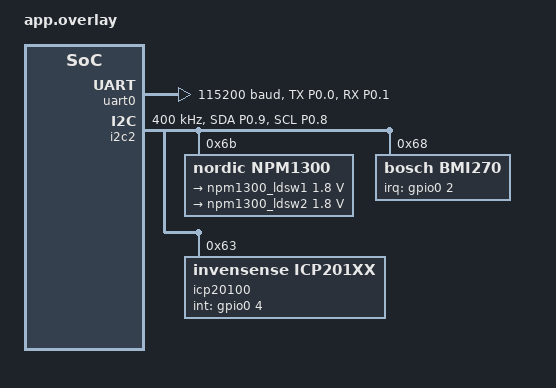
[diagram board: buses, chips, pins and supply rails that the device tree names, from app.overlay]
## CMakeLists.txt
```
cmake_minimum_required(VERSION 3.20.0)

find_package(Zephyr REQUIRED HINTS $ENV{ZEPHYR_BASE})
project(fall_detection_logger)

target_sources(app PRIVATE src/main.c)
```

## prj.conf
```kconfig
# ==========================================================
# CONSOLE & LOGGING
# ==========================================================
CONFIG_SERIAL=y
CONFIG_CONSOLE=y
CONFIG_STDOUT_CONSOLE=y
CONFIG_LOG=y
CONFIG_PRINTK=y

# Float formatting for printf and JSON payloads
CONFIG_CBPRINTF_FP_SUPPORT=y
CONFIG_PICOLIBC_IO_FLOAT=y

# ==========================================================
# HARDWARE & PMIC 
# ==========================================================
CONFIG_I2C=y
CONFIG_REGULATOR=y
CONFIG_MFD_NPM13XX=y
CONFIG_REGULATOR_NPM13XX=y
CONFIG_NPM13XX_CHARGER=y

# ==========================================================
# SENSORS
# ==========================================================
CONFIG_SENSOR=y
CONFIG_BMI270=y
CONFIG_ICP201XX=y
CONFIG_SENSOR_ASYNC_API=y

# ==========================================================
# MODEM & LTE
# ==========================================================
CONFIG_NRF_MODEM_LIB=y
CONFIG_LTE_LINK_CONTROL=y
CONFIG_LTE_NETWORK_MODE_LTE_M=y

# Custom clock settings (No crystal, use RC)
CONFIG_CLOCK_CONTROL_NRF_K32SRC_XTAL=n
CONFIG_CLOCK_CONTROL_NRF_K32SRC_RC=y
CONFIG_CLOCK_CONTROL_NRF_K32SRC_500PPM=y

# ==========================================================
# NETWORKING & MQTT
# ==========================================================
CONFIG_NETWORKING=y
CONFIG_NET_NATIVE=n
CONFIG_NET_SOCKETS=y
CONFIG_MQTT_HELPER=y

# ==========================================================
# MEMORY (16KB needed for formatting 50-item JSON arrays)
# ==========================================================
CONFIG_MAIN_STACK_SIZE=16384
CONFIG_HEAP_MEM_POOL_SIZE=16384

# ==========================================================
# SOCKET OFFLOAD (Route MQTT through the LTE Modem)
# ==========================================================
CONFIG_NET_SOCKETS_OFFLOAD=y
CONFIG_POSIX_API=y

# ==========================================================
# MQTT STABILITY
# ==========================================================
CONFIG_MQTT_CLEAN_SESSION=y
CONFIG_MQTT_KEEPALIVE=1200
```

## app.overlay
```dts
#include <zephyr/dt-bindings/regulator/npm13xx.h>
#include <zephyr/dt-bindings/i2c/i2c.h>

&pinctrl {
    /* --- UART0 --- */
    uart0_default: uart0_default {
        group1 {
            psels = <NRF_PSEL(UART_TX, 0, 0)>,
                    <NRF_PSEL(UART_RX, 0, 1)>;
        };
    };
    uart0_sleep: uart0_sleep {
        group1 {
            psels = <NRF_PSEL(UART_TX, 0, 0)>,
                    <NRF_PSEL(UART_RX, 0, 1)>;
            low-power-enable;
        };
    };

    /* --- I2C2 --- */
    i2c2_default: i2c2_default {
        group1 {
            psels = <NRF_PSEL(TWIM_SDA, 0, 9)>,
                    <NRF_PSEL(TWIM_SCL, 0, 8)>;
        };
    };
    i2c2_sleep: i2c2_sleep {
        group1 {
            psels = <NRF_PSEL(TWIM_SDA, 0, 9)>,
                    <NRF_PSEL(TWIM_SCL, 0, 8)>;
            low-power-enable;
        };
    };
};


&uart0 {
    status = "okay";
    current-speed = <115200>;
    pinctrl-0 = <&uart0_default>;
    pinctrl-1 = <&uart0_sleep>;
    pinctrl-names = "default", "sleep";
};

&i2c2 {
    status = "okay";
    pinctrl-0 = <&i2c2_default>;
    pinctrl-1 = <&i2c2_sleep>;
    pinctrl-names = "default", "sleep";
    clock-frequency = <I2C_BITRATE_FAST>;
    zephyr,concat-buf-size = <2048>;
    zephyr,flash-buf-max-size = <2048>;

    npm1300: pmic@6b {
        compatible = "nordic,npm1300";
        reg = <0x6b>;
        status = "okay";

        npm1300_regulators: regulators {
            compatible = "nordic,npm1300-regulator";
            status = "okay";
        };

        npm1300_charger: charger {
            compatible = "nordic,npm1300-charger";
            status = "okay";
            vbus-limit-microamp = <500000>;
            term-microvolt = <4200000>;
            current-microamp = <400000>;
            dischg-limit-microamp = <1000000>;
            thermistor-ohms = <10000>;
            thermistor-beta = <3380>;
        };
    };


    /* Bosch BMI270 IMU */
    bmi270: bmi270@68 {
        compatible = "bosch,bmi270";
        reg = <0x68>;
        irq-gpios = <&gpio0 2 GPIO_ACTIVE_HIGH>;
    };

    /* TDK Barometer */
    icp20100: icp20100@63 {
        compatible = "invensense,icp201xx";
        reg = <0x63>;
        int-gpios = <&gpio0 4 GPIO_ACTIVE_HIGH>;
    };

};


&npm1300_regulators {
    npm1300_ldsw1: LDO1 {
        status = "okay";
        /* Fixed: Lowered to 1.8V to match nRF9151 GPIO logic levels */
        regulator-min-microvolt = <1800000>;
        regulator-max-microvolt = <1800000>;
        regulator-initial-mode = <NPM13XX_LDSW_MODE_LDSW>;
        active-discharge;
        regulator-boot-on;
        regulator-always-on;
    };

    npm1300_ldsw2: LDO2 {
        status = "okay";
        /* Fixed: Lowered to 1.8V to match nRF9151 GPIO logic levels */
        regulator-min-microvolt = <1800000>;
        regulator-max-microvolt = <1800000>;
        regulator-initial-mode = <NPM13XX_LDSW_MODE_LDSW>;
        active-discharge;
        regulator-boot-on;
        regulator-always-on;
    };
};
```

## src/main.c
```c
#include <zephyr/kernel.h>
#include <zephyr/device.h>
#include <zephyr/logging/log.h>
#include <zephyr/drivers/sensor.h>
#include <zephyr/drivers/regulator.h>
#include <stdio.h>
#include <string.h>
#include <math.h>
#include <modem/nrf_modem_lib.h>
#include <modem/lte_lc.h>
#include <net/mqtt_helper.h>


LOG_MODULE_REGISTER(main_app, LOG_LEVEL_INF);

/* --- Hardware Definitions --- */
#define BMI270_NODE DT_NODELABEL(bmi270)
#define ICP20100_NODE DT_NODELABEL(icp20100)
#define LDO2_NODE DT_NODELABEL(npm1300_ldsw2)

/* --- Dedicated Training Topic --- */
#define MQTT_PUB_TOPIC "bracelet/prototype_pcb/data/training"
#define CLIENT_ID "prototype_pcb"
#define MQTT_BROKER_HOSTNAME "20.251.201.46"

static K_SEM_DEFINE(lte_connected, 0, 1);
static K_SEM_DEFINE(mqtt_connected_sem, 0, 1);
static bool mqtt_is_connected = false;

/* --- Buffer Configuration --- */
#define MAX_SAMPLES 50 /* 1 second of data at 50Hz */

/* Bootstrap security code — set this in prj.conf as CONFIG_MQTT_BOOTSTRAP_SECURITY_CODE */
#ifndef CONFIG_MQTT_BOOTSTRAP_SECURITY_CODE
#define CONFIG_MQTT_BOOTSTRAP_SECURITY_CODE "987654"
#endif

struct sensor_record {
    int64_t timestamp;
    double x, y, z;
    double p_hpa;
    bool acc_valid;
    bool press_valid;
};

static struct sensor_record sample_buffer[MAX_SAMPLES];

/* =====================================================================
 * PRE-MAIN BOOT SEQUENCE (Power up sensors)
 * ===================================================================== */
static int power_up_imu_during_boot(void)
{
    const struct device *const ldo2_dev = DEVICE_DT_GET(LDO2_NODE);
    if (device_is_ready(ldo2_dev)) {
        regulator_enable(ldo2_dev);
    }
    k_sleep(K_MSEC(100));
    return 0;
}
SYS_INIT(power_up_imu_during_boot, POST_KERNEL, 85);

/* =====================================================================
 * CALLBACKS
 * ===================================================================== */
static void lte_handler(const struct lte_lc_evt *const evt)
{
    if (evt->type == LTE_LC_EVT_NW_REG_STATUS) {
        if ((evt->nw_reg_status == LTE_LC_NW_REG_REGISTERED_HOME) ||
            (evt->nw_reg_status == LTE_LC_NW_REG_REGISTERED_ROAMING)) {
            LOG_INF("Connected to LTE network!");
            k_sem_give(&lte_connected);
        } else if (evt->nw_reg_status == LTE_LC_NW_REG_REGISTRATION_DENIED) {
            LOG_ERR("Network rejected us!");
        }
    }
}

static void on_mqtt_connack(enum mqtt_conn_return_code return_code, bool session_present)
{
    if (return_code == MQTT_CONNECTION_ACCEPTED) {
        LOG_INF("Connected to MQTT broker!");
        mqtt_is_connected = true;
        k_sem_give(&mqtt_connected_sem);
    } else {
        LOG_WRN("MQTT connection failed, code: %d", return_code);
    }
}

static void on_mqtt_disconnect(int result)
{
    LOG_INF("MQTT client disconnected: %d", result);
    mqtt_is_connected = false;
}

/* =====================================================================
 * HELPER: PUBLISH BUFFERED JSON
 * ===================================================================== */
static int publish_training_chunk(int64_t session_id, int chunk_index, int sample_count)
{
    if (!mqtt_is_connected) {
        LOG_WRN("MQTT not connected, dropping chunk %d.", chunk_index);
        return -ENOTCONN;
    }

    char payload[4096];
    int offset = snprintf(payload, sizeof(payload),
                          "{\"session_id\":%lld,\"chunk\":%d,\"data\":[",
                          session_id, chunk_index);

    for (int i = 0; i < sample_count; i++) {
        const char *comma = (i == sample_count - 1) ? "" : ",";
        struct sensor_record *r = &sample_buffer[i];

        char x_buf[16], y_buf[16], z_buf[16], p_buf[16];

        if (r->acc_valid) {
            snprintf(x_buf, sizeof(x_buf), "%.2f", r->x);
            snprintf(y_buf, sizeof(y_buf), "%.2f", r->y);
            snprintf(z_buf, sizeof(z_buf), "%.2f", r->z);
        } else {
            strcpy(x_buf, "null");
            strcpy(y_buf, "null");
            strcpy(z_buf, "null");
        }

        if (r->press_valid) {
            snprintf(p_buf, sizeof(p_buf), "%.2f", r->p_hpa);
        } else {
            strcpy(p_buf, "null");
        }

        offset += snprintf(payload + offset, sizeof(payload) - offset,
                           "{\"t\":%lld,\"x\":%s,\"y\":%s,\"z\":%s,\"p\":%s}%s",
                           r->timestamp, x_buf, y_buf, z_buf, p_buf, comma);

        if (offset >= sizeof(payload) - 5) {
            LOG_WRN("Payload buffer nearly full, truncating chunk %d at sample %d.",
                    chunk_index, i);
            break;
        }
    }

    snprintf(payload + offset, sizeof(payload) - offset, "]}");

    struct mqtt_publish_param param = { 0 };
    static uint16_t next_msg_id = 1;

    param.message_id = next_msg_id++;
    if (next_msg_id == 0) {
        next_msg_id = 1;
    }
    param.message.payload.data = (uint8_t *)payload;
    param.message.payload.len = strlen(payload);
    param.message.topic.qos = MQTT_QOS_1_AT_LEAST_ONCE;
    param.message.topic.topic.utf8 = (uint8_t *)MQTT_PUB_TOPIC;
    param.message.topic.topic.size = strlen(MQTT_PUB_TOPIC);

    LOG_INF("Publishing Chunk %d/10 (%d bytes)...", chunk_index, param.message.payload.len);
    return mqtt_helper_publish(&param);
}

/* =====================================================================
 * MAIN APPLICATION
 * ===================================================================== */
int main(void)
{
    int err;
    LOG_INF("=== ML Data Collection Pipeline Booting ===");

    /* --- 1. Init Sensors --- */
    const struct device *const bmi_dev = DEVICE_DT_GET(BMI270_NODE);
    const struct device *const icp_dev = DEVICE_DT_GET(ICP20100_NODE);

    if (!device_is_ready(bmi_dev) || !device_is_ready(icp_dev)) {
        LOG_ERR("Sensors failed to initialize. Check hardware.");
        return -1;
    }

    struct sensor_value full_scale = { .val1 = 2, .val2 = 0 };
    sensor_attr_set(bmi_dev, SENSOR_CHAN_ACCEL_XYZ, SENSOR_ATTR_FULL_SCALE, &full_scale);
    LOG_INF("Sensors ready.");

    /* --- 2. Init Modem & Connect LTE --- */
    LOG_INF("Initializing modem library...");
    err = nrf_modem_lib_init();
    if (err) return -1;


    LOG_INF("Connecting to LTE network...");
    lte_lc_connect_async(lte_handler);
    k_sem_take(&lte_connected, K_FOREVER);

    /* --- 3. Init & Connect MQTT --- */
    struct mqtt_helper_cfg config = {
        .cb = {
            .on_connack = on_mqtt_connack,
            .on_disconnect = on_mqtt_disconnect,
        },
    };
    mqtt_helper_init(&config);

    struct mqtt_helper_conn_params conn_params = {
        .hostname.ptr = MQTT_BROKER_HOSTNAME,
        .hostname.size = strlen(MQTT_BROKER_HOSTNAME),
        .device_id.ptr = CLIENT_ID,
        .device_id.size = strlen(CLIENT_ID),
    };
    
    LOG_INF("Connecting to MQTT Broker at %s...", MQTT_BROKER_HOSTNAME);
    mqtt_helper_connect(&conn_params);
    k_sem_take(&mqtt_connected_sem, K_FOREVER);

    /* --- 4. The 10-Second Wait --- */
    LOG_INF("==================================================");
    LOG_INF("DATA COLLECTION STARTING IN 10 SECONDS...");
    LOG_INF("Get into position!");
    LOG_INF("==================================================");
    k_sleep(K_SECONDS(5));

    /* --- 5. The 10-Second Data Collection Sequence --- */
    struct sensor_value acc[3];
    struct sensor_value pressure;
    struct sensor_value sampling_freq = { .val1 = 100, .val2 = 0 };
    struct sensor_value oversampling = { .val1 = 1, .val2 = 0 };
    sensor_attr_set(bmi_dev, SENSOR_CHAN_ACCEL_XYZ, SENSOR_ATTR_OVERSAMPLING, &oversampling);
    sensor_attr_set(bmi_dev, SENSOR_CHAN_ACCEL_XYZ, SENSOR_ATTR_SAMPLING_FREQUENCY, &sampling_freq);
    
    /* Create a unique session ID based on system uptime */
    int64_t session_id = k_uptime_get(); 
    
    LOG_INF(">>> STARTING 10-SECOND RECORDING (Session: %lld) <<<", session_id);

    for (int chunk = 1; chunk <= 10; chunk++) {

        for (int sample = 0; sample < MAX_SAMPLES; sample++) {

            int64_t now = k_uptime_get() - session_id;
            struct sensor_record *r = &sample_buffer[sample];
            r->timestamp = now;

            int acc_err = sensor_sample_fetch(bmi_dev);
            if (acc_err == 0) {
                sensor_channel_get(bmi_dev, SENSOR_CHAN_ACCEL_XYZ, acc);
                r->x = sensor_value_to_double(&acc[0]);
                r->y = sensor_value_to_double(&acc[1]);
                r->z = sensor_value_to_double(&acc[2]);
                r->acc_valid = true;
            } else {
                LOG_WRN("BMI270 fetch failed at t=%lld, err=%d", now, acc_err);
                r->acc_valid = false;
            }

            k_usleep(500);

            static double last_valid_pressure = 0.0;
            static bool have_valid_pressure = false;

            if (sample % 2 == 0) {
                int press_err = sensor_sample_fetch(icp_dev);
                if (press_err == 0) {
                    sensor_channel_get(icp_dev, SENSOR_CHAN_PRESS, &pressure);
                    r->p_hpa = sensor_value_to_double(&pressure) * 10.0;
                    r->press_valid = true;
                    last_valid_pressure = r->p_hpa;
                    have_valid_pressure = true;
                } else {
                    LOG_WRN("ICP20100 fetch failed at t=%lld, err=%d", now, press_err);
                    r->press_valid = false;
                }
            } else {
                /* Carry forward the last known pressure instead of leaving it null */
                r->p_hpa = last_valid_pressure;
                r->press_valid = have_valid_pressure;
            }
            k_sleep(K_MSEC(20));
        }

        /* 1 second has passed, publish the chunk */
        publish_training_chunk(session_id, chunk, MAX_SAMPLES);
    }

    /* --- 6. Shutdown --- */
    LOG_INF("==================================================");
    LOG_INF("DATA COLLECTION COMPLETE.");
    LOG_INF("==================================================");
    
    LOG_INF("Disconnecting safely to preserve network status...");
    mqtt_helper_disconnect();
    k_sleep(K_MSEC(200)); /* let the socket close gracefully */
    lte_lc_power_off();
    
    while (1) {
        k_sleep(K_SECONDS(10));
    }

    return 0;
}
```
